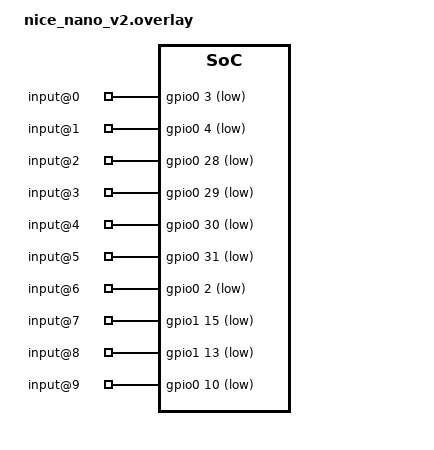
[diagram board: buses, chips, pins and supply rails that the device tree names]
#include <dt-bindings/zmk/keys.h>

/ {
    gpio_keys: gpio-keys {
        compatible = "zmk,gpio-keys";
        #address-cells = <1>;
        #size-cells = <0>;

        /* 摇杆四方向 - 共地接法，内部上拉，低电平触发 */
        input@0 { gpios = <&gpio0 3 GPIO_ACTIVE_LOW>; };  // 上 D2
        input@1 { gpios = <&gpio0 4 GPIO_ACTIVE_LOW>; };  // 下 D3
        input@2 { gpios = <&gpio0 28 GPIO_ACTIVE_LOW>; }; // 左 D4
        input@3 { gpios = <&gpio0 29 GPIO_ACTIVE_LOW>; }; // 右 D5

        /* 街机按键 */
        input@4 { gpios = <&gpio0 30 GPIO_ACTIVE_LOW>; }; // 按键1 D6
        input@5 { gpios = <&gpio0 31 GPIO_ACTIVE_LOW>; }; // 按键2 D7
        input@6 { gpios = <&gpio0 2 GPIO_ACTIVE_LOW>; };  // 按键3 D8
        input@7 { gpios = <&gpio1 15 GPIO_ACTIVE_LOW>; }; // 按键4 D9
        input@8 { gpios = <&gpio1 13 GPIO_ACTIVE_LOW>; }; // 开始 D10
        input@9 { gpios = <&gpio0 10 GPIO_ACTIVE_LOW>; }; // 选择 D16
    };

    keymap {
        compatible = "zmk,keymap";

        default_layer {
            /* 顺序必须和上面 input@0 到 input@9 一一对应 */
            bindings = <
                &joy_hat_up
                &joy_hat_down
                &joy_hat_left
                &joy_hat_right
                &joy_btn1
                &joy_btn2
                &joy_btn3
                &joy_btn4
                &joy_btn5
                &joy_btn6
            >;
        };
    };
};
